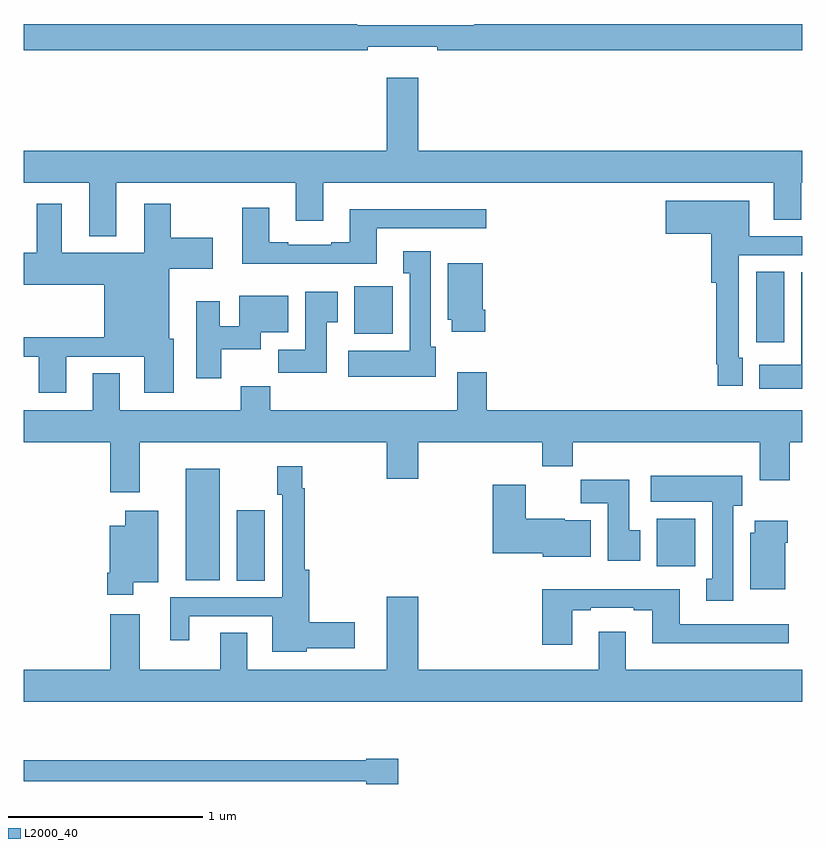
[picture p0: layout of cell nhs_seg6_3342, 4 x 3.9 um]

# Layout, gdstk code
import gdstk
lib = gdstk.Library(unit=1e-6, precision=1e-09)
def R(c, l, rs):  # rectangles x0, y0, x1, y1
    for r in rs: c.add(gdstk.rectangle(r[:2], r[2:], *l))
def P(c, l, *ps):  # polygons
    for p in ps: c.add(gdstk.Polygon(p, *l))
L2000_40 = (2000, 40)

nhs_seg6_3342 = lib.new_cell('nhs_seg6_3342')
R(nhs_seg6_3342, L2000_40, [(308.096,962.608,308.239,962.971), (307.832,962.612,308.008,963.184), (310.253,962.684,310.45,962.926), (310.763,963.834,310.906,964.196), (308.699,963.878,308.896,964.12)])
P(nhs_seg6_3342, L2000_40, [(308.768,965.351),(309.124,965.351),(309.124,965.332),(311,965.332),(311,965.468),(309.314,965.468),(309.314,965.461),(308.714,965.461),(308.714,965.468),(307,965.468),(307,965.332),(308.768,965.332)],
  [(308.864,965.191),(308.864,964.816),(307,964.816),(307,964.652),(307.337,964.652),(307.337,964.379),(307.477,964.379),(307.477,964.652),(308.399,964.652),(308.399,964.458),(308.539,964.458),(308.539,964.652),(310.853,964.652),(310.853,964.462),(310.993,964.462),(310.993,964.652),(311,964.652),(311,964.816),(309.028,964.816),(309.028,965.191)],
  [(310.693,963.753),(310.674,963.753),(310.674,964.281),(311,964.281),(311,964.377),(310.726,964.377),(310.726,964.561),(310.299,964.561),(310.299,964.391),(310.532,964.391),(310.532,964.139),(310.558,964.139),(310.558,963.721),(310.566,963.721),(310.566,963.609),(310.693,963.609)],
  [(307.219,963.759),(307.619,963.759),(307.619,963.573),(307.771,963.573),(307.771,963.852),(307.747,963.852),(307.747,964.211),(307.972,964.211),(307.972,964.369),(307.755,964.369),(307.755,964.546),(307.619,964.546),(307.619,964.294),(307.195,964.294),(307.195,964.546),(307.067,964.546),(307.067,964.294),(307,964.294),(307,964.13),(307.415,964.13),(307.415,963.86),(307,963.86),(307,963.759),(307.079,963.759),(307.079,963.573),(307.219,963.573)],
  [(308.815,964.419),(309.376,964.419),(309.376,964.516),(308.675,964.516),(308.675,964.348),(308.579,964.348),(308.579,964.335),(308.359,964.335),(308.359,964.348),(308.263,964.348),(308.263,964.525),(308.123,964.525),(308.123,964.238),(308.815,964.238)],
  [(309.118,963.81),(309.091,963.81),(309.091,964.3),(308.951,964.3),(308.951,964.187),(308.984,964.187),(308.984,963.79),(308.667,963.79),(308.667,963.656),(309.118,963.656)],
  [(309.371,964),(309.358,964),(309.358,964.24),(309.179,964.24),(309.179,963.948),(309.2,963.948),(309.2,963.888),(309.371,963.888)],
  [(311,964.192),(310.994,964.192),(310.994,963.718),(310.778,963.718),(310.778,963.596),(311,963.596)],
  [(308.557,963.937),(308.614,963.937),(308.614,964.093),(308.447,964.093),(308.447,963.796),(308.308,963.796),(308.308,963.678),(308.557,963.678)],
  [(308.016,963.797),(308.218,963.797),(308.218,963.884),(308.359,963.884),(308.359,964.072),(308.108,964.072),(308.108,963.915),(308.008,963.915),(308.008,964.045),(307.886,964.045),(307.886,963.648),(308.016,963.648)],
  [(307.597,963.32),(308.864,963.32),(308.864,963.132),(309.028,963.132),(309.028,963.32),(309.665,963.32),(309.665,963.196),(309.821,963.196),(309.821,963.32),(310.781,963.32),(310.781,963.126),(310.934,963.126),(310.934,963.32),(311,963.32),(311,963.484),(309.38,963.484),(309.38,963.679),(309.227,963.679),(309.227,963.484),(308.267,963.484),(308.267,963.608),(308.116,963.608),(308.116,963.484),(307.495,963.484),(307.495,963.674),(307.355,963.674),(307.355,963.484),(307,963.484),(307,963.32),(307.445,963.32),(307.445,963.063),(307.597,963.063)],
  [(308.454,962.261),(308.701,962.261),(308.701,962.396),(308.466,962.396),(308.466,962.665),(308.444,962.665),(308.444,963.083),(308.432,963.083),(308.432,963.196),(308.302,963.196),(308.302,963.051),(308.328,963.051),(308.328,962.523),(307.754,962.523),(307.754,962.304),(307.852,962.304),(307.852,962.427),(308.276,962.427),(308.276,962.243),(308.454,962.243)],
  [(310.645,962.994),(310.69,962.994),(310.69,963.148),(310.221,963.148),(310.221,963.014),(310.538,963.014),(310.538,962.618),(310.505,962.618),(310.505,962.505),(310.645,962.505)],
  [(310.168,962.868),(310.111,962.868),(310.111,963.127),(309.862,963.127),(309.862,963.008),(310.001,963.008),(310.001,962.712),(310.168,962.712)],
  [(309.913,962.92),(309.78,962.92),(309.78,962.926),(309.58,962.926),(309.58,963.103),(309.41,963.103),(309.41,962.75),(309.666,962.75),(309.666,962.732),(309.913,962.732)],
  [(307.564,962.6),(307.693,962.6),(307.693,962.968),(307.523,962.968),(307.523,962.89),(307.442,962.89),(307.442,962.65),(307.43,962.65),(307.43,962.538),(307.564,962.538)],
  [(310.912,962.804),(310.925,962.804),(310.925,962.917),(310.754,962.917),(310.754,962.856),(310.733,962.856),(310.733,962.564),(310.912,962.564)],
  [(309.817,962.457),(309.913,962.457),(309.913,962.469),(310.133,962.469),(310.133,962.457),(310.229,962.457),(310.229,962.288),(310.93,962.288),(310.93,962.385),(310.369,962.385),(310.369,962.566),(309.665,962.566),(309.665,962.28),(309.817,962.28)],
  [(311,962.152),(310.093,962.152),(310.093,962.347),(309.953,962.347),(309.953,962.152),(309.028,962.152),(309.028,962.527),(308.864,962.527),(308.864,962.152),(308.149,962.152),(308.149,962.342),(308.009,962.342),(308.009,962.152),(307.597,962.152),(307.597,962.437),(307.445,962.437),(307.445,962.152),(307,962.152),(307,961.988),(311,961.988)],
  [(308.923,961.695),(308.76,961.695),(308.76,961.687),(307,961.687),(307,961.578),(308.76,961.578),(308.76,961.565),(308.923,961.565)])

lib.write_gds('nhs_seg6_3342.gds')
